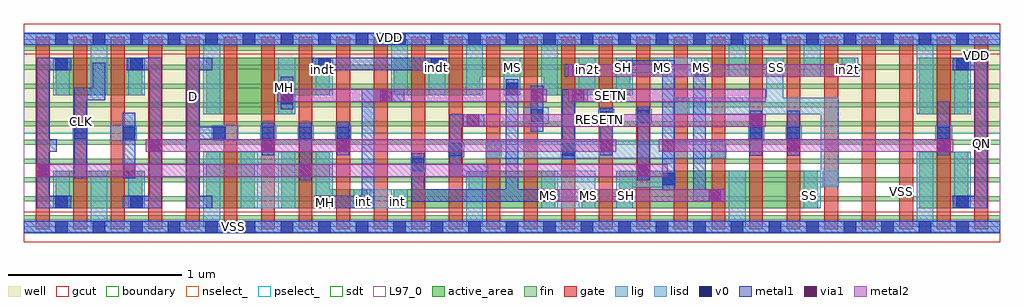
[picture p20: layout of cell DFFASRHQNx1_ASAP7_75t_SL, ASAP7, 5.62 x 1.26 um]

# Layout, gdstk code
import gdstk
lib = gdstk.Library(unit=1e-6, precision=2.5e-10)
def R(c, l, rs):  # rectangles x0, y0, x1, y1
    for r in rs: c.add(gdstk.rectangle(r[:2], r[2:], *l))
def A(c, l, x, y, w, h, nx, ny, dx, dy):  # array of equal rectangles
    R(c, l, [(x+i*dx, y+j*dy, x+i*dx+w, y+j*dy+h) for i in range(nx) for j in range(ny)])
def P(c, l, *ps):  # polygons
    for p in ps: c.add(gdstk.Polygon(p, *l))
well = (1, 0)
fin = (2, 0)
gate = (7, 0)
gcut = (10, 0)
active_area = (11, 0)
nselect_ = (12, 0)
pselect_ = (13, 0)
lig = (16, 0)
lisd = (17, 0)
v0 = (18, 0)
metal1 = (19, 0)
metal2 = (20, 0)
via1 = (21, 0)
sdt = (88, 0)
L97_0 = (97, 0)
boundary = (100, 0)

dffasrhqnx1_asap7_75t_sl = lib.new_cell('DFFASRHQNx1_ASAP7_75t_SL')
R(dffasrhqnx1_asap7_75t_sl, well, [(0,0.54,5.616,1.08)])
A(dffasrhqnx1_asap7_75t_sl, fin, 0, 0.04, 5.616, 0.028, 1, 10, 0, 0.108)
A(dffasrhqnx1_asap7_75t_sl, gate, 0.068, -0.014, 0.08, 1.108, 26, 1, 0.216, 0)
R(dffasrhqnx1_asap7_75t_sl, gcut, [(0,-0.088,5.616,0.088), (0,0.992,5.616,1.168)])
R(dffasrhqnx1_asap7_75t_sl, active_area, [(0.184,0.108,0.68,0.324), (1.048,0.108,1.328,0.432), (5.152,0.108,5.432,0.432), (5.152,0.648,5.432,0.972), (0.184,0.756,0.68,0.972), (3.856,0.864,4.784,0.972)])
P(dffasrhqnx1_asap7_75t_sl, active_area, [(4.568,0.108),(3.208,0.108),(3.208,0.216),(3.424,0.216),(3.424,0.324),(4.568,0.324)],
  [(3.704,0.864),(3.488,0.864),(3.488,0.756),(2.992,0.756),(2.992,0.864),(2.624,0.864),(2.624,0.756),(2.128,0.756),(2.128,0.972),(3.704,0.972)],
  [(1.76,0.756),(1.544,0.756),(1.544,0.648),(1.048,0.648),(1.048,0.972),(1.76,0.972)],
  [(1.976,0.108),(1.48,0.108),(1.48,0.432),(1.76,0.432),(1.76,0.216),(1.976,0.216)],
  [(3.056,0.108),(2.128,0.108),(2.128,0.216),(2.56,0.216),(2.56,0.324),(3.056,0.324)])
R(dffasrhqnx1_asap7_75t_sl, nselect_, [(0,0,5.616,0.54)])
R(dffasrhqnx1_asap7_75t_sl, pselect_, [(0,0.54,5.616,1.08)])
A(dffasrhqnx1_asap7_75t_sl, lig, 1.36, 0.496, 0.092, 0.088, 3, 1, 0.216, 0)
R(dffasrhqnx1_asap7_75t_sl, lig, [(0,-0.032,5.616,0.032), (4.596,0.236,4.688,0.324), (2.224,0.316,2.312,0.404), (2.656,0.396,2.748,0.492), (3.088,0.396,3.176,0.492), (3.952,0.396,4.04,0.492), (2.44,0.4,2.532,0.488), (0.28,0.496,0.368,0.584), (0.496,0.496,0.648,0.584), (1.08,0.496,1.232,0.584), (4.168,0.496,4.26,0.584), (4.384,0.496,4.476,0.584), (5.244,0.496,5.34,0.584), (2.872,0.592,3.02,0.688), (3.304,0.592,3.396,0.68), (3.52,0.592,3.612,0.68), (3.736,0.648,3.828,0.744), (0,1.048,5.616,1.112)])
A(dffasrhqnx1_asap7_75t_sl, lisd, 2.112, 0.756, 0.096, 0.324, 3, 1, 0.432, 0)
A(dffasrhqnx1_asap7_75t_sl, lisd, 2.328, 0.756, 0.096, 0.216, 3, 1, 0.432, 0)
R(dffasrhqnx1_asap7_75t_sl, lisd, [(0.384,0,0.48,0.324), (1.032,0,1.128,0.432), (2.544,0,2.64,0.324), (4.056,0,4.152,0.324), (5.136,0,5.232,0.432), (0.168,0.108,0.264,0.324), (0.6,0.108,0.696,0.324), (1.248,0.108,1.56,0.432), (1.68,0.108,1.776,0.432), (1.896,0.108,2.208,0.216), (2.976,0.108,3.288,0.324), (5.352,0.108,5.448,0.432), (2.656,0.396,4.04,0.492), (1.032,0.648,1.128,1.08), (1.464,0.648,1.56,0.972), (5.136,0.648,5.232,1.08), (5.352,0.648,5.448,0.972), (0.168,0.756,0.264,0.972), (0.384,0.756,0.48,1.08), (0.6,0.756,0.696,0.972), (1.68,0.756,1.776,0.972), (3.408,0.756,3.504,0.972), (3.624,0.864,3.936,0.972), (4.056,0.864,4.152,1.08), (4.488,0.864,4.584,1.08), (4.704,0.864,4.8,0.972)])
P(dffasrhqnx1_asap7_75t_sl, lisd, [(3.748,0.228),(3.504,0.228),(3.504,0.108),(3.408,0.108),(3.408,0.324),(3.748,0.324)],
  [(4.688,0.228),(4.584,0.228),(4.584,0.108),(4.488,0.108),(4.488,0.324),(4.584,0.324),(4.584,0.648),(3.736,0.648),(3.736,0.744),(4.272,0.744),(4.272,0.972),(4.368,0.972),(4.368,0.744),(4.688,0.744)])
A(dffasrhqnx1_asap7_75t_sl, v0, 0.18, -0.036, 0.072, 0.072, 25, 2, 0.216, 1.08)
A(dffasrhqnx1_asap7_75t_sl, v0, 1.368, 0.504, 0.072, 0.072, 3, 1, 0.216, 0)
R(dffasrhqnx1_asap7_75t_sl, v0, [(0.18,0.108,0.252,0.18), (0.612,0.108,0.684,0.18), (1.692,0.108,1.764,0.18), (5.364,0.108,5.436,0.18), (2.988,0.144,3.06,0.216), (3.672,0.24,3.744,0.312), (2.232,0.324,2.304,0.396), (2.448,0.408,2.52,0.48), (3.096,0.408,3.168,0.48), (0.288,0.504,0.36,0.576), (0.568,0.504,0.64,0.576), (1.088,0.504,1.16,0.576), (4.176,0.504,4.248,0.576), (4.392,0.504,4.464,0.576), (5.256,0.504,5.328,0.576), (3.316,0.592,3.388,0.664), (3.528,0.6,3.6,0.672), (2.916,0.604,2.988,0.676), (1.476,0.704,1.548,0.776), (2.772,0.756,2.844,0.828), (3.204,0.864,3.276,0.936), (3.852,0.864,3.924,0.936), (4.716,0.864,4.788,0.936), (3.42,0.888,3.492,0.96), (0.18,0.9,0.252,0.972), (0.612,0.9,0.684,0.972), (1.692,0.9,1.764,0.972), (2.34,0.9,2.412,0.972), (5.364,0.9,5.436,0.972)])
R(dffasrhqnx1_asap7_75t_sl, metal1, [(0,-0.036,5.616,0.036), (1.584,0.268,1.656,0.6), (3.528,0.268,3.6,0.692), (0.568,0.28,0.64,0.656), (4.176,0.408,4.248,0.668), (4.392,0.408,4.464,0.668), (1.368,0.412,1.44,0.6), (1.8,0.412,1.872,0.604), (3.316,0.412,3.388,0.684), (5.256,0.412,5.328,0.72), (2.916,0.548,2.988,0.812), (1.476,0.676,1.548,0.864), (3.112,0.864,3.276,0.936), (4.68,0.864,4.808,0.936), (1.66,0.9,2.432,0.972), (0,1.044,5.616,1.116)])
P(dffasrhqnx1_asap7_75t_sl, metal1, [(4.032,0.144),(3.852,0.144),(3.852,0.936),(3.924,0.936),(3.924,0.216),(4.032,0.216)],
  [(0.272,0.9),(0.144,0.9),(0.144,0.504),(0.188,0.504),(0.188,0.432),(0.144,0.432),(0.144,0.18),(0.272,0.18),(0.272,0.108),(0.072,0.108),(0.072,0.972),(0.272,0.972)],
  [(3.744,0.212),(3.672,0.212),(3.672,0.888),(3.42,0.888),(3.42,0.96),(3.744,0.96)],
  [(2.188,0.72),(2.016,0.72),(2.016,0.108),(1.672,0.108),(1.672,0.18),(1.944,0.18),(1.944,0.792),(2.188,0.792)],
  [(0.792,0.108),(0.568,0.108),(0.568,0.18),(0.72,0.18),(0.72,0.9),(0.592,0.9),(0.592,0.972),(0.792,0.972)],
  [(1.16,0.504),(1.008,0.504),(1.008,0.18),(1.084,0.18),(1.084,0.108),(0.936,0.108),(0.936,0.972),(1.084,0.972),(1.084,0.9),(1.008,0.9),(1.008,0.576),(1.16,0.576)],
  [(2.672,0.288),(2.448,0.288),(2.448,0.648),(2.648,0.648),(2.648,0.576),(2.52,0.576),(2.52,0.36),(2.672,0.36)],
  [(3.08,0.144),(2.232,0.144),(2.232,0.424),(2.304,0.424),(2.304,0.216),(2.772,0.216),(2.772,0.848),(2.844,0.848),(2.844,0.216),(3.08,0.216)],
  [(3.244,0.72),(3.168,0.72),(3.168,0.388),(3.096,0.388),(3.096,0.792),(3.244,0.792)],
  [(0.468,0.728),(0.36,0.728),(0.36,0.28),(0.288,0.28),(0.288,0.8),(0.396,0.8),(0.396,0.944),(0.468,0.944)],
  [(5.544,0.108),(5.344,0.108),(5.344,0.18),(5.472,0.18),(5.472,0.9),(5.344,0.9),(5.344,0.972),(5.544,0.972)])
R(dffasrhqnx1_asap7_75t_sl, metal2, [(2.964,0.144,4.032,0.216), (0.072,0.288,3.704,0.36), (0.7,0.432,3.408,0.504), (3.652,0.432,5.348,0.504), (2.528,0.576,4.268,0.648), (1.456,0.72,3.008,0.792), (3.132,0.72,4.268,0.792), (3.132,0.864,4.792,0.936)])
R(dffasrhqnx1_asap7_75t_sl, via1, [(2.984,0.144,3.056,0.216), (3.94,0.144,4.012,0.216), (0.072,0.288,0.144,0.36), (0.568,0.288,0.64,0.36), (1.584,0.288,1.656,0.36), (3.528,0.288,3.6,0.36), (0.72,0.432,0.792,0.504), (1.368,0.432,1.44,0.504), (1.8,0.432,1.872,0.504), (3.316,0.432,3.388,0.504), (3.672,0.432,3.744,0.504), (4.392,0.432,4.464,0.504), (5.256,0.432,5.328,0.504), (2.548,0.576,2.62,0.648), (4.176,0.576,4.248,0.648), (1.476,0.72,1.548,0.792), (2.048,0.72,2.12,0.792), (2.916,0.72,2.988,0.792), (3.152,0.72,3.224,0.792), (3.152,0.864,3.224,0.936), (4.7,0.864,4.772,0.936)])
A(dffasrhqnx1_asap7_75t_sl, sdt, 0.168, 0.108, 0.096, 0.216, 3, 2, 0.216, 0.648)
A(dffasrhqnx1_asap7_75t_sl, sdt, 1.032, 0.108, 0.096, 0.324, 4, 1, 0.216, 0)
A(dffasrhqnx1_asap7_75t_sl, sdt, 2.544, 0.108, 0.096, 0.216, 3, 1, 0.432, 0)
A(dffasrhqnx1_asap7_75t_sl, sdt, 2.112, 0.756, 0.096, 0.216, 3, 1, 0.216, 0)
A(dffasrhqnx1_asap7_75t_sl, sdt, 2.976, 0.756, 0.096, 0.216, 3, 1, 0.216, 0)
A(dffasrhqnx1_asap7_75t_sl, sdt, 3.624, 0.864, 0.096, 0.108, 6, 1, 0.216, 0)
R(dffasrhqnx1_asap7_75t_sl, sdt, [(1.896,0.108,1.992,0.216), (2.112,0.108,2.208,0.216), (3.192,0.108,3.288,0.216), (4.056,0.108,4.152,0.324), (4.488,0.108,4.584,0.324), (5.136,0.108,5.232,0.432), (5.352,0.108,5.448,0.432), (1.032,0.648,1.128,0.972), (1.464,0.648,1.56,0.972), (5.136,0.648,5.232,0.972), (5.352,0.648,5.448,0.972), (1.68,0.756,1.776,0.972), (2.76,0.864,2.856,0.972)])
R(dffasrhqnx1_asap7_75t_sl, L97_0, [(0,0,5.616,1.08)])
R(dffasrhqnx1_asap7_75t_sl, boundary, [(0,0,5.616,1.08)])
dffasrhqnx1_asap7_75t_sl.add(gdstk.Label('MS', (3.9,0.916), layer=11, texttype=0))
dffasrhqnx1_asap7_75t_sl.add(gdstk.Label('MS', (3.676,0.916), layer=11, texttype=0))
dffasrhqnx1_asap7_75t_sl.add(gdstk.Label('MS', (2.812,0.916), layer=11, texttype=0))
dffasrhqnx1_asap7_75t_sl.add(gdstk.Label('MS', (3.016,0.18), layer=11, texttype=0))
dffasrhqnx1_asap7_75t_sl.add(gdstk.Label('SH', (3.452,0.916), layer=11, texttype=0))
dffasrhqnx1_asap7_75t_sl.add(gdstk.Label('SS', (4.328,0.916), layer=11, texttype=0))
dffasrhqnx1_asap7_75t_sl.add(gdstk.Label('in2t', (3.244,0.904), layer=11, texttype=0))
dffasrhqnx1_asap7_75t_sl.add(gdstk.Label('in2t', (4.736,0.904), layer=11, texttype=0))
dffasrhqnx1_asap7_75t_sl.add(gdstk.Label('MH', (1.5,0.8), layer=11, texttype=0))
dffasrhqnx1_asap7_75t_sl.add(gdstk.Label('indt', (2.376,0.916), layer=11, texttype=0))
dffasrhqnx1_asap7_75t_sl.add(gdstk.Label('indt', (1.72,0.904), layer=11, texttype=0))
dffasrhqnx1_asap7_75t_sl.add(gdstk.Label('MS', (3.248,0.18), layer=11, texttype=0))
dffasrhqnx1_asap7_75t_sl.add(gdstk.Label('SH', (3.468,0.18), layer=11, texttype=0))
dffasrhqnx1_asap7_75t_sl.add(gdstk.Label('SS', (4.52,0.18), layer=11, texttype=0))
dffasrhqnx1_asap7_75t_sl.add(gdstk.Label('int', (2.152,0.148), layer=11, texttype=0))
dffasrhqnx1_asap7_75t_sl.add(gdstk.Label('int', (1.952,0.148), layer=11, texttype=0))
dffasrhqnx1_asap7_75t_sl.add(gdstk.Label('MH', (1.732,0.14), layer=11, texttype=0))
dffasrhqnx1_asap7_75t_sl.add(gdstk.Label('VDD', (2.104,1.092), layer=19, texttype=251))
dffasrhqnx1_asap7_75t_sl.add(gdstk.Label('CLK', (0.328,0.604), layer=19, texttype=251))
dffasrhqnx1_asap7_75t_sl.add(gdstk.Label('D', (0.976,0.752), layer=19, texttype=251))
dffasrhqnx1_asap7_75t_sl.add(gdstk.Label('VSS', (1.208,0), layer=19, texttype=251))
dffasrhqnx1_asap7_75t_sl.add(gdstk.Label('QN', (5.508,0.48), layer=19, texttype=251))
dffasrhqnx1_asap7_75t_sl.add(gdstk.Label('VDD', (5.48,0.988), layer=1, texttype=251))
dffasrhqnx1_asap7_75t_sl.add(gdstk.Label('VSS', (5.052,0.204), layer=3, texttype=251))
dffasrhqnx1_asap7_75t_sl.add(gdstk.Label('RESETN', (3.312,0.616), layer=20, texttype=251))
dffasrhqnx1_asap7_75t_sl.add(gdstk.Label('SETN', (3.372,0.756), layer=20, texttype=251))

lib.write_gds('DFFASRHQNx1_ASAP7_75t_SL.gds')
